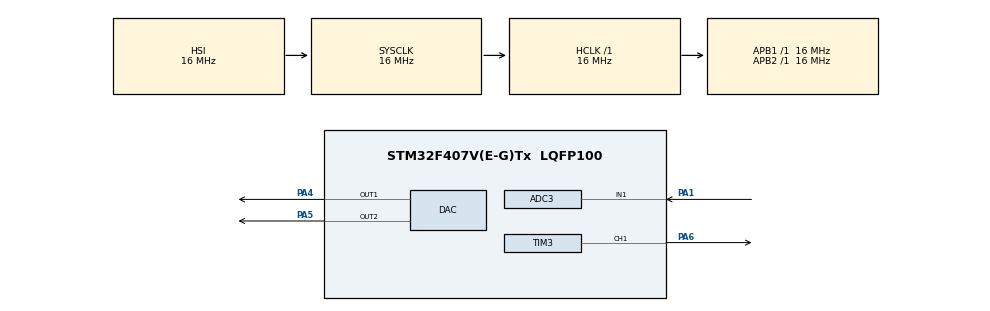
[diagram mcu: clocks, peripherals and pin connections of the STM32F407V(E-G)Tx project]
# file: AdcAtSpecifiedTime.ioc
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ADC3.Channel-0\#ChannelRegularConversion=ADC_CHANNEL_1
ADC3.DMAContinuousRequests=ENABLE
ADC3.EOCSelection=ADC_EOC_SEQ_CONV
ADC3.ExternalTrigConv=ADC_EXTERNALTRIGCONV_T3_CC1
ADC3.ExternalTrigConvEdge=ADC_EXTERNALTRIGCONVEDGE_RISINGFALLING
ADC3.NbrOfConversionFlag=1
ADC3.Rank-0\#ChannelRegularConversion=1
ADC3.SamplingTime-0\#ChannelRegularConversion=ADC_SAMPLETIME_112CYCLES
ADC3.ScanConvMode=ENABLE
Dma.ADC3.0.Direction=DMA_PERIPH_TO_MEMORY
Dma.ADC3.0.FIFOMode=DMA_FIFOMODE_DISABLE
Dma.ADC3.0.Instance=DMA2_Stream0
Dma.ADC3.0.MemDataAlignment=DMA_MDATAALIGN_HALFWORD
Dma.ADC3.0.MemInc=DMA_MINC_ENABLE
Dma.ADC3.0.Mode=DMA_NORMAL
Dma.ADC3.0.PeriphDataAlignment=DMA_PDATAALIGN_HALFWORD
Dma.ADC3.0.PeriphInc=DMA_PINC_DISABLE
Dma.ADC3.0.Priority=DMA_PRIORITY_LOW
Dma.Request0=ADC3
Dma.Request1=TIM3_CH1/TRIG
Dma.TIM3_CH1/TRIG.1.Direction=DMA_MEMORY_TO_PERIPH
Dma.TIM3_CH1/TRIG.1.FIFOMode=DMA_FIFOMODE_DISABLE
Dma.TIM3_CH1/TRIG.1.Instance=DMA1_Stream4
Dma.TIM3_CH1/TRIG.1.MemDataAlignment=DMA_MDATAALIGN_HALFWORD
Dma.TIM3_CH1/TRIG.1.MemInc=DMA_MINC_ENABLE
Dma.TIM3_CH1/TRIG.1.Mode=DMA_NORMAL
Dma.TIM3_CH1/TRIG.1.PeriphDataAlignment=DMA_PDATAALIGN_HALFWORD
Dma.TIM3_CH1/TRIG.1.PeriphInc=DMA_PINC_DISABLE
Dma.TIM3_CH1/TRIG.1.Priority=DMA_PRIORITY_LOW
Mcu.Family=STM32F4
Mcu.Name=STM32F407V(E-G)Tx
Mcu.Package=LQFP100
Mcu.UserConstants=MEASUREMENT_COUNT,20U
NVIC.DMA1_Stream4_IRQn=true\:0\:0\:false\:false\:true\:false\:true
NVIC.DMA2_Stream0_IRQn=true\:0\:0\:false\:false\:true\:false\:true
NVIC.PriorityGroup=NVIC_PRIORITYGROUP_4
NVIC.TIM3_IRQn=true\:0\:0\:false\:false\:true\:true\:true
PA1.Signal=ADCx_IN1
PA13.Mode=Serial_Wire
PA13.Signal=SYS_JTMS-SWDIO
PA14.Mode=Serial_Wire
PA14.Signal=SYS_JTCK-SWCLK
PA4.Signal=COMP_DAC1_group
PA5.Signal=COMP_DAC2_group
PA6.Signal=S_TIM3_CH1
ProjectManager.HeapSize=0x200
ProjectManager.StackSize=0x400
ProjectManager.TargetToolchain=STM32CubeIDE
RCC.AHBFreq_Value=16000000
RCC.APB1Freq_Value=16000000
RCC.APB2Freq_Value=16000000
RCC.CortexFreq_Value=16000000
RCC.HSE_VALUE=25000000
RCC.HSI_VALUE=16000000
RCC.LSE_VALUE=32768
RCC.SYSCLKFreq_VALUE=16000000
RCC.VCOOutputFreq_Value=192000000
SH.ADCx_IN1.0=ADC3_IN1,IN1
SH.COMP_DAC1_group.0=DAC_OUT1,DAC_OUT1
SH.COMP_DAC2_group.0=DAC_OUT2,DAC_OUT2
SH.S_TIM3_CH1.0=TIM3_CH1,Output Compare1 CH1
TIM3.Channel-Output\ Compare1\ CH1=TIM_CHANNEL_1
TIM3.OCMode_1=TIM_OCMODE_TOGGLE
TIM3.Period=15000
TIM3.Prescaler=3200
TIM3.TIM_MasterOutputTrigger=TIM_TRGO_OC1REF
VP_TIM3_VS_ClockSourceINT.Mode=Internal
board=custom

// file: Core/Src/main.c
/* USER CODE BEGIN Header */
/**
  ******************************************************************************
  * @file           : main.c
  * @brief          : Main program body
  ******************************************************************************
  * @attention
  *
  * <h2><center>&copy; Copyright (c) 2021 STMicroelectronics.
  * All rights reserved.</center></h2>
  *
  * This software component is licensed by ST under BSD 3-Clause license,
  * the "License"; You may not use this file except in compliance with the
  * License. You may obtain a copy of the License at:
  *                        opensource.org/licenses/BSD-3-Clause
  *
  ******************************************************************************
  */
/* USER CODE END Header */
#include "main.h"

ADC_HandleTypeDef hadc3;
DMA_HandleTypeDef hdma_adc3;

DAC_HandleTypeDef hdac;

TIM_HandleTypeDef htim3;
DMA_HandleTypeDef hdma_tim3_ch1_trig;

/* USER CODE BEGIN PV */

volatile uint32_t capturedTimerValues[MEASUREMENT_COUNT];
volatile uint32_t capturedIndex = 0u;

volatile uint16_t measuredAdcValues[MEASUREMENT_COUNT];

/* USER CODE END PV */

void SystemClock_Config(void);
static void MX_GPIO_Init(void);
static void MX_DMA_Init(void);
static void MX_DAC_Init(void);
static void MX_TIM3_Init(void);
static void MX_ADC3_Init(void);

/* USER CODE BEGIN 0 */

#define DWT_CONTROL *(volatile unsigned long *)0xE0001000
#define SCB_DEMCR   *(volatile unsigned long *)0xE000EDFC

void DWT_Init(void)
{
    SCB_DEMCR |= CoreDebug_DEMCR_TRCENA_Msk; // разрешаем использовать счётчик
    DWT_CONTROL |= DWT_CTRL_CYCCNTENA_Msk;   // запускаем счётчик
}

void delay_micros(uint32_t us)
{
    uint32_t us_count_tic =  us * (SystemCoreClock / 1000000); // получаем кол-во тактов за 1 мкс и умножаем на наше значение
    DWT->CYCCNT = 0U; // обнуляем счётчик
    while(DWT->CYCCNT < us_count_tic);
}

/* USER CODE END 0 */

int main(void)
{

  /* MCU Configuration--------------------------------------------------------*/

  /* Reset of all peripherals, Initializes the Flash interface and the Systick. */
  HAL_Init();

  /* Configure the system clock */
  SystemClock_Config();

  /* Initialize all configured peripherals */
  MX_GPIO_Init();
  MX_DMA_Init();
  MX_DAC_Init();
  MX_TIM3_Init();
  MX_ADC3_Init();
  /* USER CODE BEGIN 2 */

  HAL_DAC_SetValue(&hdac, DAC_CHANNEL_1, DAC_ALIGN_12B_R, 0u);
  __HAL_DAC_ENABLE(&hdac, DAC_CHANNEL_1);
  DWT_Init();

  /* Setup dedicated times for measurements */
  static uint16_t ccValues[MEASUREMENT_COUNT];

  ccValues[0] = 115;
  ccValues[1] = 252;
  ccValues[2] = 388;
  ccValues[3] = 475;
  ccValues[4] = 582;
  ccValues[5] = 646;
  ccValues[6] = 727;
  ccValues[7] = 871;
  ccValues[8] = 993;
  ccValues[9] = 1062;
  ccValues[10] = 1211;
  ccValues[11] = 1339;
  ccValues[12] = 1425;
  ccValues[13] = 1466;
  ccValues[14] = 1541;
  ccValues[15] = 1669;
  ccValues[16] = 1818;
  ccValues[17] = 1872;
  ccValues[18] = 1963;
  ccValues[19] = 2000;

  /* First CCR value shall be written to the registers before starting. */
  htim3.Instance->CCR1 = ccValues[0];

  /* Reset TIM3 counter */
   HAL_TIM_Base_Stop(&htim3);
   htim3.Instance->CNT = 0;

  /* Stop TIM3 at breakpoint */
  __HAL_DBGMCU_FREEZE_TIM3();

  /* Request ADC meaurements. */
  HAL_ADC_Start_DMA(&hadc3, measuredAdcValues, MEASUREMENT_COUNT);

  /* Additional enabling interrupt for Capture/Compare Channel 1 for storing event times. */
   __HAL_TIM_ENABLE_IT(&htim3, TIM_IT_CC1);

  /* Start updating Capture/Compare Register value of TIM3 via DMA. Each event will cause update of CCR value from ccValues. */
  HAL_TIM_OC_Start_DMA(&htim3, TIM_CHANNEL_1, &ccValues[1], MEASUREMENT_COUNT - 1u);

  /* USER CODE END 2 */

  /* Infinite loop */
  while (1)
  {

    /* USER CODE BEGIN 3 */

    /* Updating DAC value which will be captured by ADC at dedicated time. */
    for (uint32_t i = 0; i < 4095u; i++)
    {
        delay_micros(100);
        HAL_DAC_SetValue(&hdac, DAC_CHANNEL_1, DAC_ALIGN_12B_R, i);
    }
    while(1);
  }
  /* USER CODE END 3 */
}

void SystemClock_Config(void)
{
  RCC_OscInitTypeDef RCC_OscInitStruct = {0};
  RCC_ClkInitTypeDef RCC_ClkInitStruct = {0};

  /** Configure the main internal regulator output voltage
  */
  __HAL_RCC_PWR_CLK_ENABLE();
  __HAL_PWR_VOLTAGESCALING_CONFIG(PWR_REGULATOR_VOLTAGE_SCALE1);
  /** Initializes the RCC Oscillators according to the specified parameters
  * in the RCC_OscInitTypeDef structure.
  */
  RCC_OscInitStruct.OscillatorType = RCC_OSCILLATORTYPE_HSI;
  RCC_OscInitStruct.HSIState = RCC_HSI_ON;
  RCC_OscInitStruct.HSICalibrationValue = RCC_HSICALIBRATION_DEFAULT;
  RCC_OscInitStruct.PLL.PLLState = RCC_PLL_NONE;
  if (HAL_RCC_OscConfig(&RCC_OscInitStruct) != HAL_OK)
  {
    Error_Handler();
  }
  /** Initializes the CPU, AHB and APB buses clocks
  */
  RCC_ClkInitStruct.ClockType = RCC_CLOCKTYPE_HCLK|RCC_CLOCKTYPE_SYSCLK
                              |RCC_CLOCKTYPE_PCLK1|RCC_CLOCKTYPE_PCLK2;
  RCC_ClkInitStruct.SYSCLKSource = RCC_SYSCLKSOURCE_HSI;
  RCC_ClkInitStruct.AHBCLKDivider = RCC_SYSCLK_DIV1;
  RCC_ClkInitStruct.APB1CLKDivider = RCC_HCLK_DIV1;
  RCC_ClkInitStruct.APB2CLKDivider = RCC_HCLK_DIV1;

  if (HAL_RCC_ClockConfig(&RCC_ClkInitStruct, FLASH_LATENCY_0) != HAL_OK)
  {
    Error_Handler();
  }
}

static void MX_ADC3_Init(void)
{

  ADC_ChannelConfTypeDef sConfig = {0};

  /** Configure the global features of the ADC (Clock, Resolution, Data Alignment and number of conversion)
  */
  hadc3.Instance = ADC3;
  hadc3.Init.ClockPrescaler = ADC_CLOCK_SYNC_PCLK_DIV2;
  hadc3.Init.Resolution = ADC_RESOLUTION_12B;
  hadc3.Init.ScanConvMode = ENABLE;
  hadc3.Init.ContinuousConvMode = DISABLE;
  hadc3.Init.DiscontinuousConvMode = DISABLE;
  hadc3.Init.ExternalTrigConvEdge = ADC_EXTERNALTRIGCONVEDGE_RISINGFALLING;
  hadc3.Init.ExternalTrigConv = ADC_EXTERNALTRIGCONV_T3_CC1;
  hadc3.Init.DataAlign = ADC_DATAALIGN_RIGHT;
  hadc3.Init.NbrOfConversion = 1;
  hadc3.Init.DMAContinuousRequests = ENABLE;
  hadc3.Init.EOCSelection = ADC_EOC_SEQ_CONV;
  if (HAL_ADC_Init(&hadc3) != HAL_OK)
  {
    Error_Handler();
  }
  /** Configure for the selected ADC regular channel its corresponding rank in the sequencer and its sample time.
  */
  sConfig.Channel = ADC_CHANNEL_1;
  sConfig.Rank = 1;
  sConfig.SamplingTime = ADC_SAMPLETIME_112CYCLES;
  if (HAL_ADC_ConfigChannel(&hadc3, &sConfig) != HAL_OK)
  {
    Error_Handler();
  }

}

static void MX_DAC_Init(void)
{

  DAC_ChannelConfTypeDef sConfig = {0};

  /** DAC Initialization
  */
  hdac.Instance = DAC;
  if (HAL_DAC_Init(&hdac) != HAL_OK)
  {
    Error_Handler();
  }
  /** DAC channel OUT1 config
  */
  sConfig.DAC_Trigger = DAC_TRIGGER_NONE;
  sConfig.DAC_OutputBuffer = DAC_OUTPUTBUFFER_ENABLE;
  if (HAL_DAC_ConfigChannel(&hdac, &sConfig, DAC_CHANNEL_1) != HAL_OK)
  {
    Error_Handler();
  }
  /** DAC channel OUT2 config
  */
  if (HAL_DAC_ConfigChannel(&hdac, &sConfig, DAC_CHANNEL_2) != HAL_OK)
  {
    Error_Handler();
  }

}

static void MX_TIM3_Init(void)
{

  TIM_ClockConfigTypeDef sClockSourceConfig = {0};
  TIM_MasterConfigTypeDef sMasterConfig = {0};
  TIM_OC_InitTypeDef sConfigOC = {0};

  htim3.Instance = TIM3;
  htim3.Init.Prescaler = 3200;
  htim3.Init.CounterMode = TIM_COUNTERMODE_UP;
  htim3.Init.Period = 15000;
  htim3.Init.ClockDivision = TIM_CLOCKDIVISION_DIV1;
  htim3.Init.AutoReloadPreload = TIM_AUTORELOAD_PRELOAD_DISABLE;
  if (HAL_TIM_Base_Init(&htim3) != HAL_OK)
  {
    Error_Handler();
  }
  sClockSourceConfig.ClockSource = TIM_CLOCKSOURCE_INTERNAL;
  if (HAL_TIM_ConfigClockSource(&htim3, &sClockSourceConfig) != HAL_OK)
  {
    Error_Handler();
  }
  if (HAL_TIM_OC_Init(&htim3) != HAL_OK)
  {
    Error_Handler();
  }
  sMasterConfig.MasterOutputTrigger = TIM_TRGO_OC1REF;
  sMasterConfig.MasterSlaveMode = TIM_MASTERSLAVEMODE_DISABLE;
  if (HAL_TIMEx_MasterConfigSynchronization(&htim3, &sMasterConfig) != HAL_OK)
  {
    Error_Handler();
  }
  sConfigOC.OCMode = TIM_OCMODE_TOGGLE;
  sConfigOC.Pulse = 0;
  sConfigOC.OCPolarity = TIM_OCPOLARITY_HIGH;
  sConfigOC.OCFastMode = TIM_OCFAST_DISABLE;
  if (HAL_TIM_OC_ConfigChannel(&htim3, &sConfigOC, TIM_CHANNEL_1) != HAL_OK)
  {
    Error_Handler();
  }
  HAL_TIM_MspPostInit(&htim3);

}

static void MX_DMA_Init(void)
{

  /* DMA controller clock enable */
  __HAL_RCC_DMA2_CLK_ENABLE();
  __HAL_RCC_DMA1_CLK_ENABLE();

  /* DMA interrupt init */
  /* DMA1_Stream4_IRQn interrupt configuration */
  HAL_NVIC_SetPriority(DMA1_Stream4_IRQn, 0, 0);
  HAL_NVIC_EnableIRQ(DMA1_Stream4_IRQn);
  /* DMA2_Stream0_IRQn interrupt configuration */
  HAL_NVIC_SetPriority(DMA2_Stream0_IRQn, 0, 0);
  HAL_NVIC_EnableIRQ(DMA2_Stream0_IRQn);

}

static void MX_GPIO_Init(void)
{

  /* GPIO Ports Clock Enable */
  __HAL_RCC_GPIOA_CLK_ENABLE();

}

void Error_Handler(void)
{
  __disable_irq();
  while (1)
  {
  }
}

/************************ (C) COPYRIGHT STMicroelectronics *****END OF FILE****/
